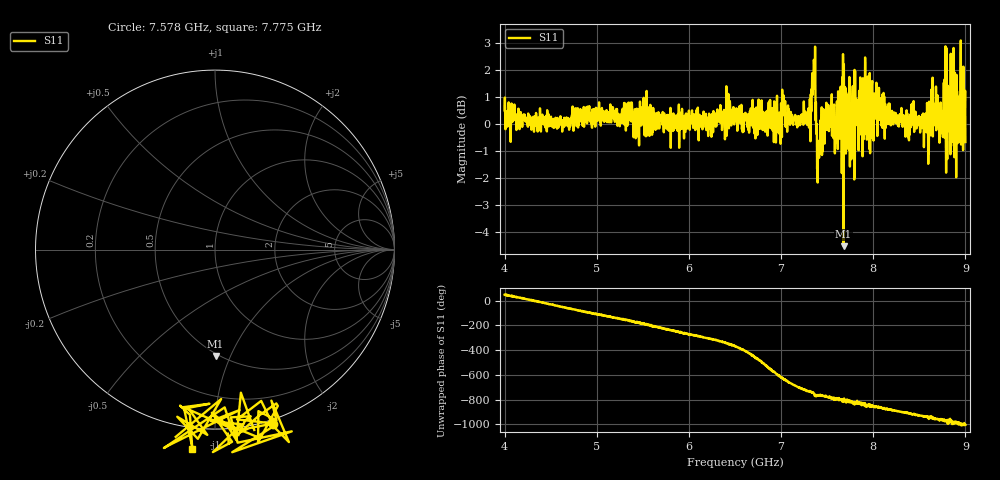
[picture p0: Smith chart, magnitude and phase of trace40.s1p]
! Created with skrf 1.8.0 (http://scikit-rf.org).
# Hz S RI R 50.0
!freq ReS11 ImS11
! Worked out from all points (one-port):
!   1601 points, 4 GHz to 9 GHz, reference 50 ohm
!   lowest |S11| = -4.5 dB at 7.678 GHz (marker M1), VSWR 3.91, Z = 24.1 - j44.1 ohm
!   |S11| at or under -10 dB: nowhere
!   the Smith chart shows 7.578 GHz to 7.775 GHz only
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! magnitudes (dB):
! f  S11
! 4 GHz  0.5
! 4.625 GHz  -0.3
! 5.25 GHz  -0.1
! 5.875 GHz  -0.1
! 6.5 GHz  0.3
! 7.125 GHz  0.2
! 7.294 GHz  0.0
! 7.347 GHz  1.3
! 7.409 GHz  -0.9
! 7.5 GHz  0.0
! 7.591 GHz  0.1
! 7.65 GHz  0.5
! 7.678 GHz  -4.5
! 7.75 GHz  0.5
! 7.928 GHz  1.1
! 7.981 GHz  -0.2
! 8.038 GHz  0.2
! 8.375 GHz  -0.2
! 8.438 GHz  0.8
! 8.6 GHz  -0.5
! 8.656 GHz  0.8
! 8.734 GHz  0.3
! 8.788 GHz  -0.6
! 8.844 GHz  -0.8
! 8.884 GHz  1.9
! 8.919 GHz  -0.6
! 8.956 GHz  0.7
! 9 GHz  -0.7
